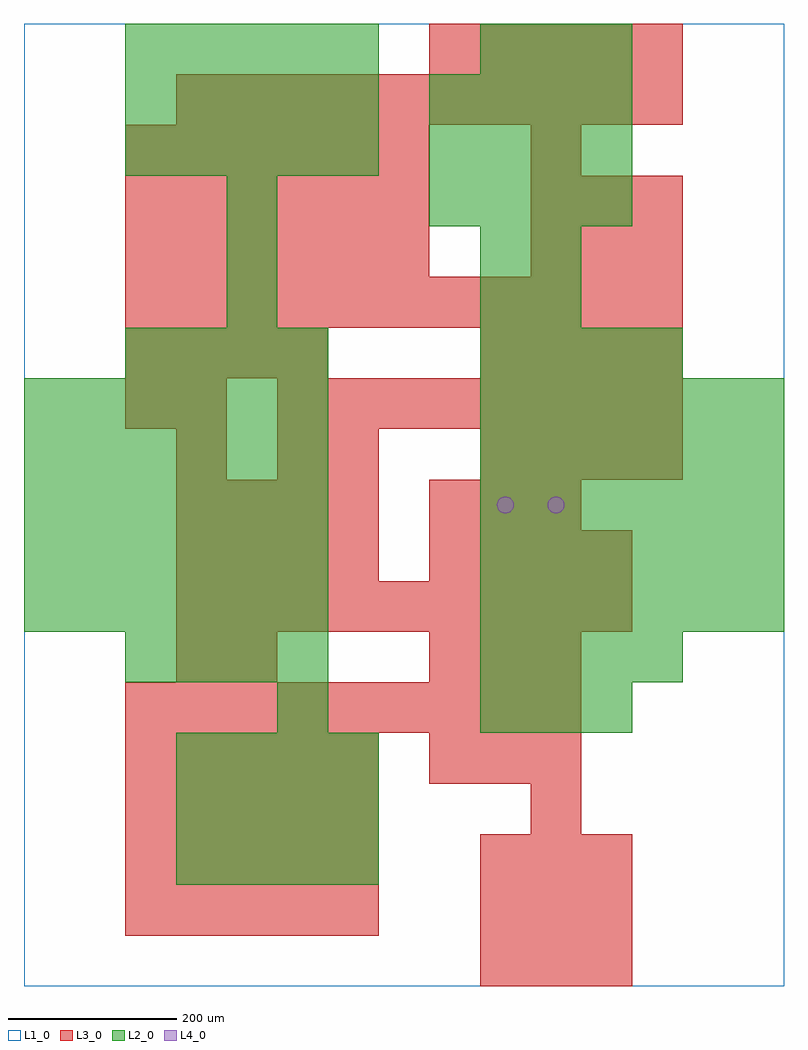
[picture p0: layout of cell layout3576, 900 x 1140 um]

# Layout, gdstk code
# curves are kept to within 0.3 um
import gdstk
lib = gdstk.Library(unit=1e-6, precision=1e-09)
def R(c, l, rs):  # rectangles x0, y0, x1, y1
    for r in rs: c.add(gdstk.rectangle(r[:2], r[2:], *l))
def A(c, l, x, y, w, h, nx, ny, dx, dy):  # array of equal rectangles
    R(c, l, [(x+i*dx, y+j*dy, x+i*dx+w, y+j*dy+h) for i in range(nx) for j in range(ny)])
def P(c, l, *ps):  # polygons
    for p in ps: c.add(gdstk.Polygon(p, *l))
L1_0 = (1, 0)
L2_0 = (2, 0)
L3_0 = (3, 0)
L4_0 = (4, 0)

layout3576 = lib.new_cell('layout3576')
R(layout3576, L1_0, [(0,0,900,1140)])
A(layout3576, L2_0, 180, 120, 60, 60, 4, 3, 60, 60)
A(layout3576, L2_0, 540, 300, 60, 60, 3, 2, 60, 780)
A(layout3576, L2_0, 120, 360, 60, 60, 4, 2, 60, 360)
A(layout3576, L2_0, 540, 360, 60, 60, 4, 2, 60, 360)
A(layout3576, L2_0, 0, 420, 60, 60, 6, 5, 60, 60)
A(layout3576, L2_0, 540, 420, 60, 60, 6, 5, 60, 60)
A(layout3576, L2_0, 240, 780, 60, 60, 1, 3, 0, 60)
A(layout3576, L2_0, 480, 900, 60, 60, 4, 3, 60, 60)
A(layout3576, L2_0, 120, 960, 60, 60, 5, 3, 60, 60)
R(layout3576, L2_0, [(300,300,360,360), (540,780,600,840), (600,780,660,840), (540,840,600,900), (600,840,660,900)])
A(layout3576, L3_0, 540, 0, 60, 60, 3, 3, 60, 60)
A(layout3576, L3_0, 120, 60, 60, 60, 5, 4, 60, 60)
A(layout3576, L3_0, 480, 240, 60, 60, 3, 2, 60, 120)
A(layout3576, L3_0, 120, 300, 60, 60, 9, 1, 60, 0)
A(layout3576, L3_0, 180, 420, 60, 60, 9, 1, 60, 0)
A(layout3576, L3_0, 180, 480, 60, 60, 4, 2, 60, 60)
A(layout3576, L3_0, 480, 480, 60, 60, 4, 1, 60, 0)
A(layout3576, L3_0, 480, 540, 60, 60, 3, 1, 60, 0)
A(layout3576, L3_0, 540, 600, 60, 60, 4, 2, 60, 120)
A(layout3576, L3_0, 300, 660, 60, 60, 8, 1, 60, 0)
A(layout3576, L3_0, 120, 720, 60, 60, 4, 1, 60, 0)
A(layout3576, L3_0, 120, 780, 60, 60, 11, 1, 60, 0)
A(layout3576, L3_0, 120, 840, 60, 60, 6, 3, 60, 60)
A(layout3576, L3_0, 600, 840, 60, 60, 3, 2, 60, 60)
A(layout3576, L3_0, 180, 1020, 60, 60, 10, 1, 60, 0)
A(layout3576, L3_0, 480, 1080, 60, 60, 5, 1, 60, 0)
R(layout3576, L3_0, [(600,180,660,240), (180,360,240,420), (240,360,300,420), (180,600,240,660), (300,600,360,660), (360,600,420,660), (120,660,180,720), (180,660,240,720), (600,960,660,1020)])
P(layout3576, L4_0, [(580,570),(579.239,573.827),(577.071,577.071),(573.827,579.239),(570,580),(566.173,579.239),(562.929,577.071),(560.761,573.827),(560,570),(560.761,566.173),(562.929,562.929),(566.173,560.761),(570,560),(573.827,560.761),(577.071,562.929),(579.239,566.173)],
  [(640,570),(639.239,573.827),(637.071,577.071),(633.827,579.239),(630,580),(626.173,579.239),(622.929,577.071),(620.761,573.827),(620,570),(620.761,566.173),(622.929,562.929),(626.173,560.761),(630,560),(633.827,560.761),(637.071,562.929),(639.239,566.173)])

lib.write_gds('layout3576.gds')
